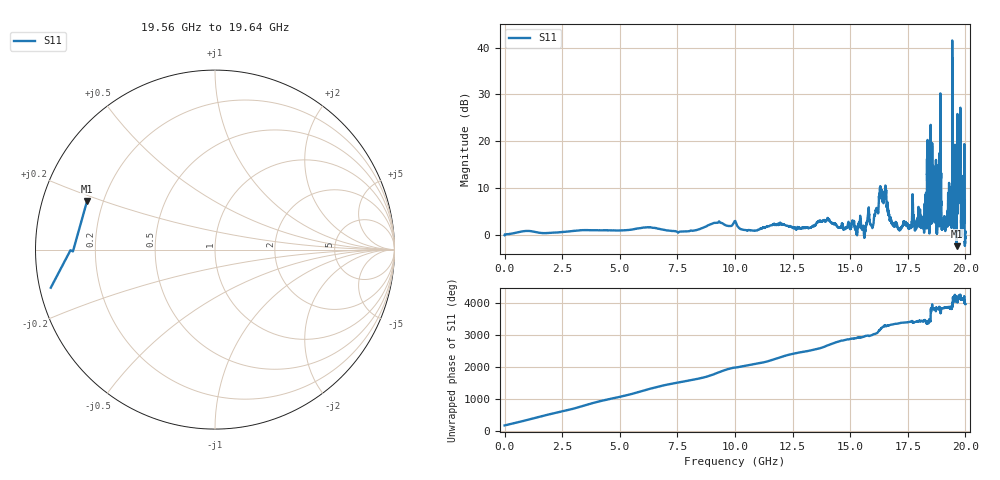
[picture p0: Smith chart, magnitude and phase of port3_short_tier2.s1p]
! Created with skrf 1.8.0 (http://scikit-rf.org).
# GHz S RI R 50.0
!freq ReS11 ImS11
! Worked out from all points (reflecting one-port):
!   10001 points, 1 MHz to 20 GHz, reference 50 ohm
!   lowest |S11| = -2.4 dB at 19.62 GHz (marker M1), VSWR 7.42, Z = 6.96 + j9.03 ohm
!   phase of S11 starts at 180 deg and turns +3781 deg over the sweep
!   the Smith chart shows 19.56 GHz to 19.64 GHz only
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0.001  -0.9999 0.000598
0.9949503  1.105 -0.0987
2.500875  -0.2362 -1.051
3.480826  0.0945 1.128
5.00075  1.112 -0.1303
5.982701  -1.197 0.0733
6.486676  0.1869 -1.179
7.500625  0.2695 1.046
8.376581  -1.103 -0.2944
9.178541  1.347 0.1284
10.0005  -1.406 -0.1742
11.25244  1.185 -0.191
11.73241  -0.1234 1.272
12.50038  -0.3398 -1.171
13.37033  1.201 0.3379
14.0943  -1.471 0.0271
15.00025  1.157 -0.00508
16.12219  -1.8 0.338
16.29419  1.002 -2.896
16.43618  2.049 1.076
17.50013  -1.212 0.4287
18.43208  -2.003 -0.6965
19.32603  -1.24 -1.332
19.35203  0.6895 -1.615
19.62002  -0.7126 0.2715
19.77801  -1.605 -10.84
19.88801  -2.206 1.211
20  1.069 0.0222
